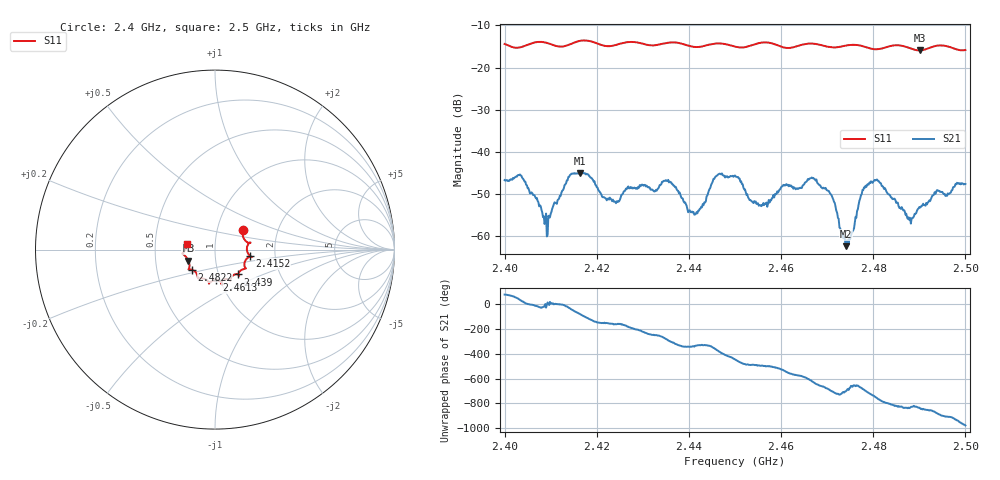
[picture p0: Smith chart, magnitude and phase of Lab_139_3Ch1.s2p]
# Hz S RI R 50
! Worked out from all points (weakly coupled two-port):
!   601 points, 2.4 GHz to 2.5 GHz, reference 50 ohm
!   highest |S21| = -45.00 dB at 2.4163 GHz (marker M1); lowest = -62.4 dB at 2.474 GHz (marker M2)
!   lowest |S11| = -15.9 dB at 2.4902 GHz (marker M3), VSWR 1.38, Z = 36.9 - j4.61 ohm
!   |S11| at or under -10 dB: start of sweep to end of sweep
!   S12 and S22 are empty: the file has one direction only
!   S11 on the Smith chart (normalised r, x): 2.4 GHz: 1.33, +0.31; 2.4152 GHz: 1.48, -0.11; 2.439 GHz: 1.24, -0.35; 2.4613 GHz: 0.96, -0.34; 2.4822 GHz: 0.76, -0.17; 2.5 GHz: 0.73, +0.05
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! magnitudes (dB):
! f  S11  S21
! 2.4 GHz  -14.4  -46.7
! 2.4037 GHz  -15.1  -45.7
! 2.4092 GHz  -14.1  -60.1
! 2.4152 GHz  -14.1  -45.1
! 2.4163 GHz  -13.7  -45.0
! 2.4167 GHz  -13.6  -45.2
! 2.4242 GHz  -14.6  -52.2
! 2.4333 GHz  -14.6  -48.7
! 2.439 GHz  -14.5  -52.0
! 2.4417 GHz  -15.1  -54.3
! 2.4458 GHz  -14.3  -45.8
! 2.45 GHz  -15.0  -45.6
! 2.4555 GHz  -14.1  -52.7
! 2.4613 GHz  -15.3  -47.9
! 2.4667 GHz  -14.3  -46.1
! 2.4708 GHz  -15.2  -50.1
! 2.474 GHz  -14.8  -62.4
! 2.4782 GHz  -15.1  -48.5
! 2.4822 GHz  -15.4  -48.3
! 2.4833 GHz  -15.0  -50.1
! 2.4902 GHz  -15.9  -53.2
! 2.5 GHz  -15.8  -47.6
